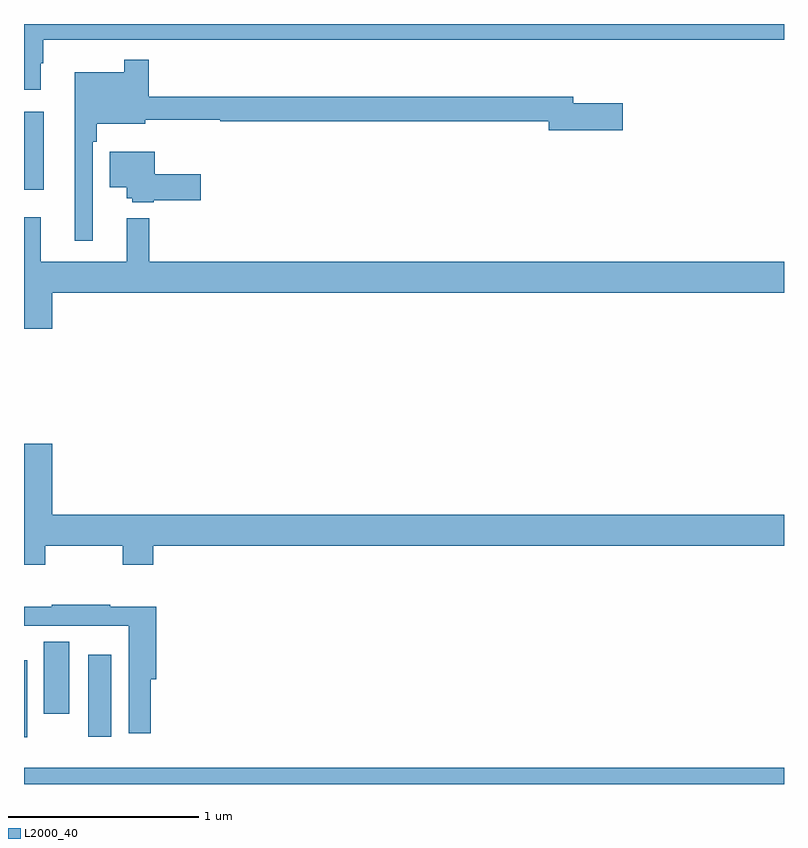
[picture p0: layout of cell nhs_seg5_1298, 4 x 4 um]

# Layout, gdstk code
import gdstk
lib = gdstk.Library(unit=1e-6, precision=1e-09)
def R(c, l, rs):  # rectangles x0, y0, x1, y1
    for r in rs: c.add(gdstk.rectangle(r[:2], r[2:], *l))
def P(c, l, *ps):  # polygons
    for p in ps: c.add(gdstk.Polygon(p, *l))
L2000_40 = (2000, 40)

nhs_seg5_1298 = lib.new_cell('nhs_seg5_1298')
R(nhs_seg5_1298, L2000_40, [(189,896.799,193,896.884), (189,897.045,189.016,897.451), (189.338,897.048,189.46,897.478), (189.104,897.168,189.238,897.548), (189,899.927,189.103,900.337)])
P(nhs_seg5_1298, L2000_40, [(189.088,900.593),(189.1,900.593),(189.1,900.716),(193,900.716),(193,900.799),(189,900.799),(189,900.453),(189.088,900.453)],
  [(189.363,900.179),(189.383,900.179),(189.383,900.275),(189.637,900.275),(189.637,900.294),(190.033,900.294),(190.033,900.286),(191.762,900.286),(191.762,900.239),(192.151,900.239),(192.151,900.381),(191.89,900.381),(191.89,900.415),(189.656,900.415),(189.656,900.61),(189.528,900.61),(189.528,900.544),(189.266,900.544),(189.266,899.658),(189.363,899.658)],
  [(189.684,899.872),(189.931,899.872),(189.931,900.009),(189.688,900.009),(189.688,900.127),(189.452,900.127),(189.452,899.939),(189.542,899.939),(189.542,899.883),(189.57,899.883),(189.57,899.861),(189.684,899.861)],
  [(189.148,899.384),(193,899.384),(193,899.548),(189.659,899.548),(189.659,899.776),(189.542,899.776),(189.542,899.548),(189.089,899.548),(189.089,899.782),(189,899.782),(189,899.196),(189.148,899.196)],
  [(189.111,898.052),(189.52,898.052),(189.52,897.953),(189.68,897.953),(189.68,898.052),(193,898.052),(193,898.216),(189.148,898.216),(189.148,898.591),(189,898.591),(189,897.953),(189.111,897.953)],
  [(189.668,897.35),(189.695,897.35),(189.695,897.732),(189.455,897.732),(189.455,897.742),(189.145,897.742),(189.145,897.732),(189,897.732),(189,897.632),(189.008,897.632),(189.008,897.633),(189.342,897.633),(189.342,897.632),(189.552,897.632),(189.552,897.066),(189.668,897.066)])

lib.write_gds('nhs_seg5_1298.gds')
